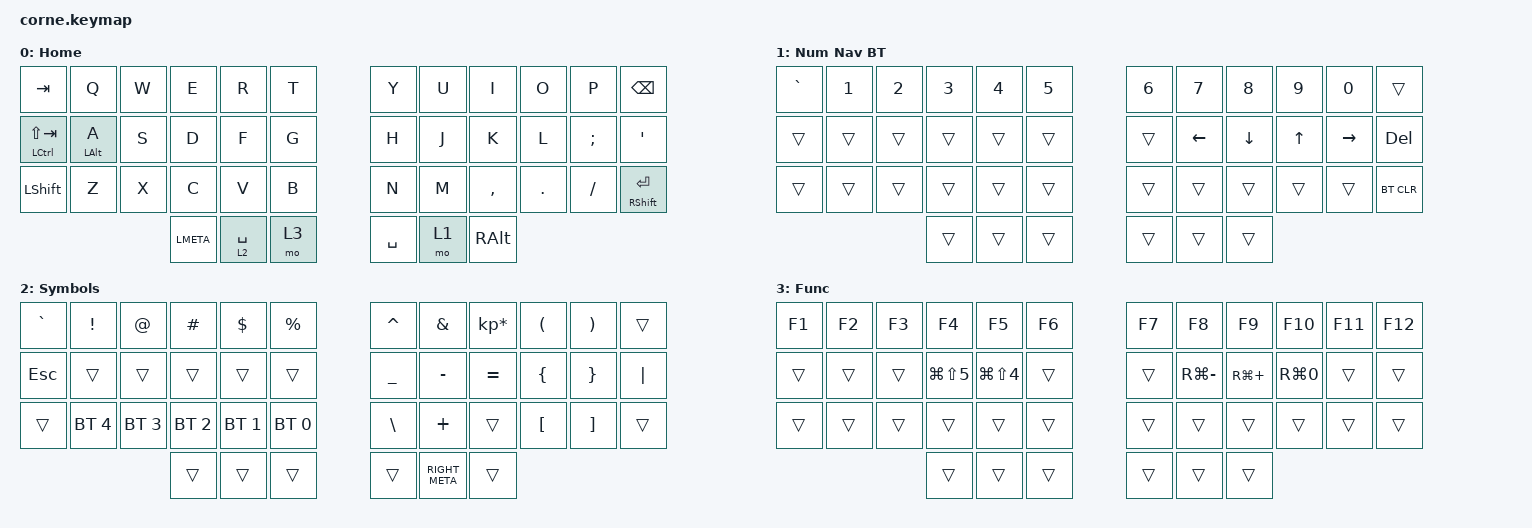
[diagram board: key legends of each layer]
/*
 * Copyright (c) 2020 The ZMK Contributors
 *
 * SPDX-License-Identifier: MIT
 */

#include <behaviors.dtsi>
#include <dt-bindings/zmk/bt.h>
#include <dt-bindings/zmk/keys.h>

/ {
    behaviors {
        QHT: QHT {
            compatible = "zmk,behavior-hold-tap";
            label = "QHT";
            bindings = <&kp>, <&kp>;

            #binding-cells = <2>;
            tapping-term-ms = <150>;
            flavor = "hold-preferred";
        };

        LHT: LHT {
            compatible = "zmk,behavior-hold-tap";
            label = "LHT";
            bindings = <&kp>, <&kp>;

            #binding-cells = <2>;
            tapping-term-ms = <280>;
            flavor = "tap-preferred";
        };

        QLHT: QLHT {
            compatible = "zmk,behavior-hold-tap";
            label = "Quick layer hold tap";
            bindings = <&mo>, <&kp>;

            #binding-cells = <2>;
            tapping-term-ms = <150>;
            flavor = "hold-preferred";
        };
    };

    keymap {
        compatible = "zmk,keymap";

        Home_Layer {
            // -----------------------------------------------------------------------------------------
            // |  TAB |  Q  |  W  |  E  |  R  |  T  |   |  Y  |  U   |  I  |  O  |  P  | BKSP |
            // | CTRL |  A  |  S  |  D  |  F  |  G  |   |  H  |  J   |  K  |  L  |  ;  |  '   |
            // | SHFT |  Z  |  X  |  C  |  V  |  B  |   |  N  |  M   |  ,  |  .  |  /  | ESC  |
            //                    | GUI | LWR | SPC |   | ENT | RSE  | ALT |

            display-name = "Home";
            bindings = <
&kp TAB                    &kp Q            &kp W  &kp E      &kp R          &kp T    &kp Y      &kp U  &kp I      &kp O    &kp P          &kp BSPC
&QHT LEFT_CONTROL LS(TAB)  &LHT LEFT_ALT A  &kp S  &kp D      &kp F          &kp G    &kp H      &kp J  &kp K      &kp L    &kp SEMICOLON  &kp SQT
&kp LSHFT                  &kp Z            &kp X  &kp C      &kp V          &kp B    &kp N      &kp M  &kp COMMA  &kp DOT  &kp FSLH       &QHT RIGHT_SHIFT RETURN
                                                   &kp LMETA  &QLHT 2 SPACE  &mo 3    &kp SPACE  &mo 1  &kp RALT
            >;
        };

        Num_Nav_BT {
            // -----------------------------------------------------------------------------------------
            // |  TAB |  1  |  2  |  3  |  4  |  5  |   |  6  |  7  |  8  |  9  |  0  | BKSP |
            // | BTCLR| BT1 | BT2 | BT3 | BT4 | BT5 |   | LFT | DWN |  UP | RGT |     |      |
            // | SHFT |     |     |     |     |     |   |     |     |     |     |     |      |
            //                    | GUI |     | SPC |   | ENT |     | ALT |

            display-name = "Num Nav BT";
            bindings = <
&kp GRAVE  &kp N1  &kp N2  &kp N3  &kp N4  &kp N5    &kp N6  &kp N7          &kp N8    &kp N9        &kp N0     &trans
&trans     &trans  &trans  &trans  &trans  &trans    &trans  &kp LEFT_ARROW  &kp DOWN  &kp UP_ARROW  &kp RIGHT  &kp DELETE
&trans     &trans  &trans  &trans  &trans  &trans    &trans  &trans          &trans    &trans        &trans     &bt BT_CLR
                           &trans  &trans  &trans    &trans  &trans          &trans
            >;
        };

        Symbols {
            // -----------------------------------------------------------------------------------------
            // |  TAB |  !  |  @  |  #  |  $  |  %  |   |  ^  |  &  |  *  |  (  |  )  | BKSP |
            // | CTRL |     |     |     |     |     |   |  -  |  =  |  [  |  ]  |  \  |  `   |
            // | SHFT |     |     |     |     |     |   |  _  |  +  |  {  |  }  | "|" |  ~   |
            //                    | GUI |     | SPC |   | ENT |     | ALT |

            display-name = "Symbols";
            bindings = <
&kp GRAVE   &kp EXCL      &kp AT        &kp HASH      &kp DLLR      &kp PRCNT       &kp CARET      &kp AMPS        &kp KP_MULTIPLY  &kp LPAR          &kp RPAR           &trans
&kp ESCAPE  &trans        &trans        &trans        &trans        &trans          &kp UNDER      &kp MINUS       &kp EQUAL        &kp LEFT_BRACE    &kp RIGHT_BRACE    &kp PIPE
&trans      &bt BT_SEL 4  &bt BT_SEL 3  &bt BT_SEL 2  &bt BT_SEL 1  &bt BT_SEL 0    &kp BACKSLASH  &kp PLUS        &trans           &kp LEFT_BRACKET  &kp RIGHT_BRACKET  &trans
                                        &trans        &trans        &trans          &trans         &kp RIGHT_META  &trans
            >;
        };

        Func {
            bindings = <
&kp F1  &kp F2  &kp F3  &kp F4          &kp F5                &kp F6    &kp F7  &kp F8         &kp F9        &kp F10           &kp F11  &kp F12
&trans  &trans  &trans  &kp LG(LS(N5))  &kp LG(LS(NUMBER_4))  &trans    &trans  &kp RG(MINUS)  &kp RG(PLUS)  &kp RG(NUMBER_0)  &trans   &trans
&trans  &trans  &trans  &trans          &trans                &trans    &trans  &trans         &trans        &trans            &trans   &trans
                        &trans          &trans                &trans    &trans  &trans         &trans
            >;

            label = "Func";
        };
    };
};
